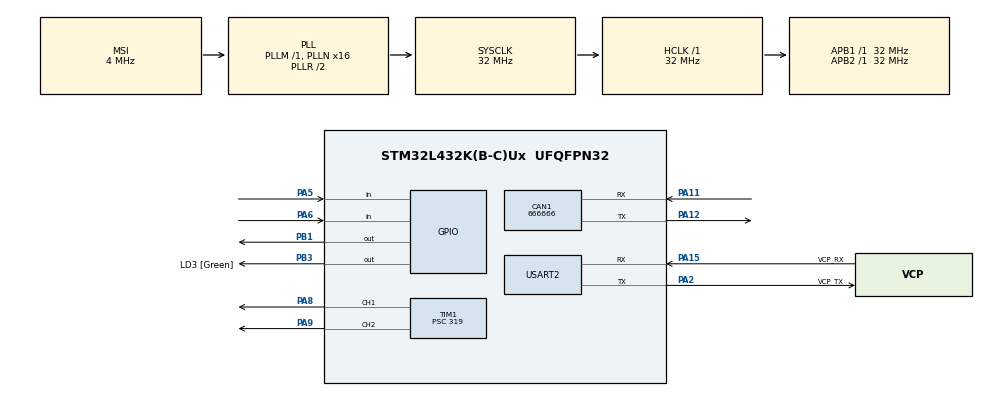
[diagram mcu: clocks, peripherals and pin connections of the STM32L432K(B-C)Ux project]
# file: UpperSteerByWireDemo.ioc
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CAN1.CalculateBaudRate=666666
CAN1.CalculateTimeBit=1500
CAN1.CalculateTimeQuantum=500.0
Mcu.Family=STM32L4
Mcu.Name=STM32L432K(B-C)Ux
Mcu.Package=UFQFPN32
NVIC.PriorityGroup=NVIC_PRIORITYGROUP_4
PA0.GPIO_Label=MCO [High speed clock in]
PA0.Mode=HSE-External-Clock-Source-for-LittleOrca
PA0.Signal=RCC_CK_IN
PA11.Mode=CAN_Activate
PA11.Signal=CAN1_RX
PA12.Mode=CAN_Activate
PA12.Signal=CAN1_TX
PA13\ (JTMS-SWDIO).GPIO_Label=SWDIO
PA13\ (JTMS-SWDIO).Mode=Serial_Wire
PA13\ (JTMS-SWDIO).Signal=SYS_JTMS-SWDIO
PA14\ (JTCK-SWCLK).GPIO_Label=SWCLK
PA14\ (JTCK-SWCLK).Mode=Serial_Wire
PA14\ (JTCK-SWCLK).Signal=SYS_JTCK-SWCLK
PA15\ (JTDI).GPIO_Label=VCP_RX
PA15\ (JTDI).Mode=Asynchronous
PA15\ (JTDI).Signal=USART2_RX
PA2.GPIO_Label=VCP_TX
PA2.Mode=Asynchronous
PA2.Signal=USART2_TX
PA5.Signal=GPIO_Input
PA6.Signal=GPIO_Input
PA8.Signal=S_TIM1_CH1
PA9.Signal=S_TIM1_CH2
PB1.Signal=GPIO_Output
PB3\ (JTDO-TRACESWO).GPIO_Label=LD3 [Green]
PB3\ (JTDO-TRACESWO).Signal=GPIO_Output
PC14-OSC32_IN\ (PC14).Mode=LSE-External-Oscillator
PC14-OSC32_IN\ (PC14).Signal=RCC_OSC32_IN
PC15-OSC32_OUT\ (PC15).Mode=LSE-External-Oscillator
PC15-OSC32_OUT\ (PC15).Signal=RCC_OSC32_OUT
ProjectManager.HeapSize=0x200
ProjectManager.StackSize=0x400
ProjectManager.TargetToolchain=STM32CubeIDE
RCC.AHBFreq_Value=32000000
RCC.APB1Freq_Value=32000000
RCC.APB1TimFreq_Value=32000000
RCC.APB2Freq_Value=32000000
RCC.APB2TimFreq_Value=32000000
RCC.CortexFreq_Value=32000000
RCC.HCLKFreq_Value=32000000
RCC.HSE_VALUE=8000000
RCC.HSI16_VALUE=16000000
RCC.HSI48_VALUE=48000000
RCC.HSI_VALUE=16000000
RCC.MSI_VALUE=4000000
RCC.PLLMUL=RCC_PLLMUL_4
RCC.PLLN=16
RCC.SYSCLKFreq_VALUE=32000000
RCC.SYSCLKSource=RCC_SYSCLKSOURCE_PLLCLK
RCC.VCOOutputFreq_Value=64000000
SH.S_TIM1_CH1.0=TIM1_CH1,PWM Generation1 CH1
SH.S_TIM1_CH2.0=TIM1_CH2,PWM Generation2 CH2
TIM1.Channel-PWM\ Generation1\ CH1=TIM_CHANNEL_1
TIM1.Channel-PWM\ Generation2\ CH2=TIM_CHANNEL_2
TIM1.Period=99
TIM1.Prescaler=319
USART2.VirtualMode-Asynchronous=VM_ASYNC
board=NUCLEO-L432KC

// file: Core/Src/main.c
/* USER CODE BEGIN Header */
/**
  ******************************************************************************
  * @file           : main.c
  * @brief          : Main program body
  ******************************************************************************
  * @attention
  *
  * Copyright (c) 2025 STMicroelectronics.
  * All rights reserved.
  *
  * This software is licensed under terms that can be found in the LICENSE file
  * in the root directory of this software component.
  * If no LICENSE file comes with this software, it is provided AS-IS.
  *
  ******************************************************************************
  */
/* USER CODE END Header */
#include "main.h"

CAN_HandleTypeDef hcan1;

TIM_HandleTypeDef htim1;

UART_HandleTypeDef huart2;

/* USER CODE BEGIN PV */

int EncoderPinA = GPIO_PIN_5; // GPIO A
int EncoderPinB = GPIO_PIN_6; // GPIO A
int MotorEnable = GPIO_PIN_1; // GPIO B

/* USER CODE END PV */

void SystemClock_Config(void);
static void MX_GPIO_Init(void);
static void MX_USART2_UART_Init(void);
static void MX_CAN1_Init(void);
static void MX_TIM1_Init(void);
/* USER CODE BEGIN PFP */
void TurnWheelLeft(int dutyCycle);
void TurnWheelRight(int dutyCycle);
void LockWheel(void);
void CoastWheel(void);
int ReadEncoder(void);
/* USER CODE END PFP */

int main(void)
{

  /* MCU Configuration--------------------------------------------------------*/

  /* Reset of all peripherals, Initializes the Flash interface and the Systick. */
  HAL_Init();

  /* Configure the system clock */
  SystemClock_Config();

  /* Initialize all configured peripherals */
  MX_GPIO_Init();
  MX_USART2_UART_Init();
  MX_CAN1_Init();
  MX_TIM1_Init();
  /* USER CODE BEGIN 2 */

  /* CAN1 init stuff (ID) */

  /* PWM stuff: set frequency, set default duty cycle */
  HAL_TIM_PWM_Start(&htim1, TIM_CHANNEL_1);
  HAL_TIM_PWM_Start(&htim1, TIM_CHANNEL_2);

  int wheelPosition;
  /* Encoder setup stuff */

  /* USER CODE END 2 */

  /* Infinite loop */
  /* USER CODE BEGIN WHILE */
  while (1)
  {
	  /*CAN ping*/

	  wheelPosition = 0;

	  /*Turn steering wheel left*/
	  TurnWheelLeft(50);
	  /*Count until end of steering range*/
	  while(wheelPosition < 16 && wheelPosition > -16) {
		  wheelPosition += ReadEncoder();
	  }
	  LockWheel();

	  wheelPosition = 0;

	  /*Turn steering wheel right*/
	  TurnWheelRight(50);
	  /*Count until other end of steering range*/
	  while(wheelPosition < 16 && wheelPosition > -16) {
		  wheelPosition += ReadEncoder();
	  }
	  LockWheel();

    /* USER CODE END WHILE */

  }
}

void SystemClock_Config(void)
{
  RCC_OscInitTypeDef RCC_OscInitStruct = {0};
  RCC_ClkInitTypeDef RCC_ClkInitStruct = {0};

  /** Configure the main internal regulator output voltage
  */
  if (HAL_PWREx_ControlVoltageScaling(PWR_REGULATOR_VOLTAGE_SCALE1) != HAL_OK)
  {
    Error_Handler();
  }

  /** Configure LSE Drive Capability
  */
  HAL_PWR_EnableBkUpAccess();
  __HAL_RCC_LSEDRIVE_CONFIG(RCC_LSEDRIVE_LOW);

  /** Initializes the RCC Oscillators according to the specified parameters
  * in the RCC_OscInitTypeDef structure.
  */
  RCC_OscInitStruct.OscillatorType = RCC_OSCILLATORTYPE_LSE|RCC_OSCILLATORTYPE_MSI;
  RCC_OscInitStruct.LSEState = RCC_LSE_ON;
  RCC_OscInitStruct.MSIState = RCC_MSI_ON;
  RCC_OscInitStruct.MSICalibrationValue = 0;
  RCC_OscInitStruct.MSIClockRange = RCC_MSIRANGE_6;
  RCC_OscInitStruct.PLL.PLLState = RCC_PLL_ON;
  RCC_OscInitStruct.PLL.PLLSource = RCC_PLLSOURCE_MSI;
  RCC_OscInitStruct.PLL.PLLM = 1;
  RCC_OscInitStruct.PLL.PLLN = 16;
  RCC_OscInitStruct.PLL.PLLP = RCC_PLLP_DIV7;
  RCC_OscInitStruct.PLL.PLLQ = RCC_PLLQ_DIV2;
  RCC_OscInitStruct.PLL.PLLR = RCC_PLLR_DIV2;
  if (HAL_RCC_OscConfig(&RCC_OscInitStruct) != HAL_OK)
  {
    Error_Handler();
  }

  /** Initializes the CPU, AHB and APB buses clocks
  */
  RCC_ClkInitStruct.ClockType = RCC_CLOCKTYPE_HCLK|RCC_CLOCKTYPE_SYSCLK
                              |RCC_CLOCKTYPE_PCLK1|RCC_CLOCKTYPE_PCLK2;
  RCC_ClkInitStruct.SYSCLKSource = RCC_SYSCLKSOURCE_PLLCLK;
  RCC_ClkInitStruct.AHBCLKDivider = RCC_SYSCLK_DIV1;
  RCC_ClkInitStruct.APB1CLKDivider = RCC_HCLK_DIV1;
  RCC_ClkInitStruct.APB2CLKDivider = RCC_HCLK_DIV1;

  if (HAL_RCC_ClockConfig(&RCC_ClkInitStruct, FLASH_LATENCY_1) != HAL_OK)
  {
    Error_Handler();
  }

  /** Enable MSI Auto calibration
  */
  HAL_RCCEx_EnableMSIPLLMode();
}

static void MX_CAN1_Init(void)
{

  hcan1.Instance = CAN1;
  hcan1.Init.Prescaler = 16;
  hcan1.Init.Mode = CAN_MODE_NORMAL;
  hcan1.Init.SyncJumpWidth = CAN_SJW_1TQ;
  hcan1.Init.TimeSeg1 = CAN_BS1_1TQ;
  hcan1.Init.TimeSeg2 = CAN_BS2_1TQ;
  hcan1.Init.TimeTriggeredMode = DISABLE;
  hcan1.Init.AutoBusOff = DISABLE;
  hcan1.Init.AutoWakeUp = DISABLE;
  hcan1.Init.AutoRetransmission = DISABLE;
  hcan1.Init.ReceiveFifoLocked = DISABLE;
  hcan1.Init.TransmitFifoPriority = DISABLE;
  if (HAL_CAN_Init(&hcan1) != HAL_OK)
  {
    Error_Handler();
  }

}

static void MX_TIM1_Init(void)
{

  TIM_MasterConfigTypeDef sMasterConfig = {0};
  TIM_OC_InitTypeDef sConfigOC = {0};
  TIM_BreakDeadTimeConfigTypeDef sBreakDeadTimeConfig = {0};

  htim1.Instance = TIM1;
  htim1.Init.Prescaler = 319;
  htim1.Init.CounterMode = TIM_COUNTERMODE_UP;
  htim1.Init.Period = 99;
  htim1.Init.ClockDivision = TIM_CLOCKDIVISION_DIV1;
  htim1.Init.RepetitionCounter = 0;
  htim1.Init.AutoReloadPreload = TIM_AUTORELOAD_PRELOAD_DISABLE;
  if (HAL_TIM_PWM_Init(&htim1) != HAL_OK)
  {
    Error_Handler();
  }
  sMasterConfig.MasterOutputTrigger = TIM_TRGO_RESET;
  sMasterConfig.MasterOutputTrigger2 = TIM_TRGO2_RESET;
  sMasterConfig.MasterSlaveMode = TIM_MASTERSLAVEMODE_DISABLE;
  if (HAL_TIMEx_MasterConfigSynchronization(&htim1, &sMasterConfig) != HAL_OK)
  {
    Error_Handler();
  }
  sConfigOC.OCMode = TIM_OCMODE_PWM1;
  sConfigOC.Pulse = 0;
  sConfigOC.OCPolarity = TIM_OCPOLARITY_HIGH;
  sConfigOC.OCNPolarity = TIM_OCNPOLARITY_HIGH;
  sConfigOC.OCFastMode = TIM_OCFAST_DISABLE;
  sConfigOC.OCIdleState = TIM_OCIDLESTATE_RESET;
  sConfigOC.OCNIdleState = TIM_OCNIDLESTATE_RESET;
  if (HAL_TIM_PWM_ConfigChannel(&htim1, &sConfigOC, TIM_CHANNEL_1) != HAL_OK)
  {
    Error_Handler();
  }
  if (HAL_TIM_PWM_ConfigChannel(&htim1, &sConfigOC, TIM_CHANNEL_2) != HAL_OK)
  {
    Error_Handler();
  }
  sBreakDeadTimeConfig.OffStateRunMode = TIM_OSSR_DISABLE;
  sBreakDeadTimeConfig.OffStateIDLEMode = TIM_OSSI_DISABLE;
  sBreakDeadTimeConfig.LockLevel = TIM_LOCKLEVEL_OFF;
  sBreakDeadTimeConfig.DeadTime = 0;
  sBreakDeadTimeConfig.BreakState = TIM_BREAK_DISABLE;
  sBreakDeadTimeConfig.BreakPolarity = TIM_BREAKPOLARITY_HIGH;
  sBreakDeadTimeConfig.BreakFilter = 0;
  sBreakDeadTimeConfig.Break2State = TIM_BREAK2_DISABLE;
  sBreakDeadTimeConfig.Break2Polarity = TIM_BREAK2POLARITY_HIGH;
  sBreakDeadTimeConfig.Break2Filter = 0;
  sBreakDeadTimeConfig.AutomaticOutput = TIM_AUTOMATICOUTPUT_DISABLE;
  if (HAL_TIMEx_ConfigBreakDeadTime(&htim1, &sBreakDeadTimeConfig) != HAL_OK)
  {
    Error_Handler();
  }
  HAL_TIM_MspPostInit(&htim1);

}

static void MX_USART2_UART_Init(void)
{

  huart2.Instance = USART2;
  huart2.Init.BaudRate = 115200;
  huart2.Init.WordLength = UART_WORDLENGTH_8B;
  huart2.Init.StopBits = UART_STOPBITS_1;
  huart2.Init.Parity = UART_PARITY_NONE;
  huart2.Init.Mode = UART_MODE_TX_RX;
  huart2.Init.HwFlowCtl = UART_HWCONTROL_NONE;
  huart2.Init.OverSampling = UART_OVERSAMPLING_16;
  huart2.Init.OneBitSampling = UART_ONE_BIT_SAMPLE_DISABLE;
  huart2.AdvancedInit.AdvFeatureInit = UART_ADVFEATURE_NO_INIT;
  if (HAL_UART_Init(&huart2) != HAL_OK)
  {
    Error_Handler();
  }

}

static void MX_GPIO_Init(void)
{
  GPIO_InitTypeDef GPIO_InitStruct = {0};

  /* GPIO Ports Clock Enable */
  __HAL_RCC_GPIOC_CLK_ENABLE();
  __HAL_RCC_GPIOA_CLK_ENABLE();
  __HAL_RCC_GPIOB_CLK_ENABLE();

  /*Configure GPIO pin Output Level */
  HAL_GPIO_WritePin(GPIOB, GPIO_PIN_1|LD3_Pin, GPIO_PIN_RESET);

  /*Configure GPIO pins : PA5 PA6 */
  GPIO_InitStruct.Pin = GPIO_PIN_5|GPIO_PIN_6;
  GPIO_InitStruct.Mode = GPIO_MODE_INPUT;
  GPIO_InitStruct.Pull = GPIO_NOPULL;
  HAL_GPIO_Init(GPIOA, &GPIO_InitStruct);

  /*Configure GPIO pins : PB1 LD3_Pin */
  GPIO_InitStruct.Pin = GPIO_PIN_1|LD3_Pin;
  GPIO_InitStruct.Mode = GPIO_MODE_OUTPUT_PP;
  GPIO_InitStruct.Pull = GPIO_NOPULL;
  GPIO_InitStruct.Speed = GPIO_SPEED_FREQ_LOW;
  HAL_GPIO_Init(GPIOB, &GPIO_InitStruct);

}

/* USER CODE BEGIN 4 */

/* Turns wheel left at given speed (tunable from 0 to 99) */
void TurnWheelLeft(int dutyCycle)
{
	__HAL_TIM_SET_COMPARE(&htim1, TIM_CHANNEL_1, dutyCycle);
	__HAL_TIM_SET_COMPARE(&htim1, TIM_CHANNEL_2, 0);
	HAL_GPIO_WritePin(GPIOB, MotorEnable, GPIO_PIN_SET);
}

/* Turns wheel right at given speed (tunable from 0 to 99) */
void TurnWheelRight(int dutyCycle)
{
	__HAL_TIM_SET_COMPARE(&htim1, TIM_CHANNEL_2, dutyCycle);
	__HAL_TIM_SET_COMPARE(&htim1, TIM_CHANNEL_1, 0);
	HAL_GPIO_WritePin(GPIOB, MotorEnable, GPIO_PIN_SET);
}

/* Turns on wheel braking */
void LockWheel(void)
{
	__HAL_TIM_SET_COMPARE(&htim1, TIM_CHANNEL_1, 0);
	__HAL_TIM_SET_COMPARE(&htim1, TIM_CHANNEL_2, 0);
	HAL_GPIO_WritePin(GPIOB, MotorEnable, GPIO_PIN_SET);
}

/* Lets motor coast */
void CoastWheel(void) {
	__HAL_TIM_SET_COMPARE(&htim1, TIM_CHANNEL_1, 0);
	HAL_GPIO_WritePin(GPIOB, MotorEnable, GPIO_PIN_RESET);
}

/*Quadrature encoder reader. We pass last state by reference since we have to update */
int ReadEncoder(void) {

	/*Get current state*/
	int counterIncrement = 0;
	static int lastState;
	/*Current state has encoder values stored as a pair of bits (A)(B).
	 * Below is some bit-math to get this working properly.*/
	int currentState = 2*(GPIO_PIN_SET == HAL_GPIO_ReadPin(GPIOA, EncoderPinA))
			+ (GPIO_PIN_SET == HAL_GPIO_ReadPin(GPIOA, EncoderPinB));

	/*Compare states with a nasty switch case statement. we turn the last state and current state into
	 * a set of 4 bits with the last state in the most significant position.*/
	switch(((lastState)*4) + currentState) { //0000 0000 0000 (last state pair)(current state pair)
		/*All legal state transitions for CCW rotation*/
	    case 0b0010:
		case 0b1011:
		case 0b1101:
		case 0b0100:
			counterIncrement = 1;
			break;
		/*All legal state transitions for CW rotation*/
		case 0b0001:
		case 0b0111:
		case 0b1110:
		case 0b1000:
			counterIncrement = -1;
			break;
		/*All illegal state transitions return 0*/
		default:
			//Since counter is initialized to 0, we don't need to change anything here
	}
	/*Update lastState*/
	lastState = currentState;

	/*Return counter increment*/
	return counterIncrement;
}

/* USER CODE END 4 */

void Error_Handler(void)
{
  __disable_irq();
  while (1)
  {
  }
}
